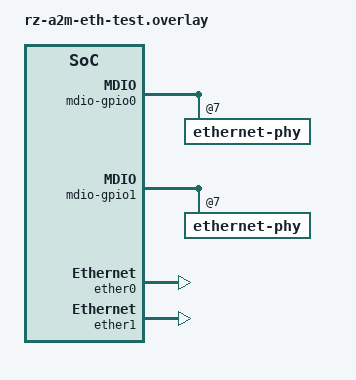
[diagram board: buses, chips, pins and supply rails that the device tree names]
/*
 * Copyright (c) 2023 EPAM Systems
 *
 * SPDX-License-Identifier: Apache-2.0
 */

/ {
	mdio-gpio0 {
			status = "okay";

			ethernet-phy@7 {
				status = "okay";
			};
	};

	mdio-gpio1 {
			status = "okay";

			ethernet-phy@7 {
				status = "okay";
			};
	};
};

&ether0 {
	status = "okay";
};

&ether1 {
	status = "okay";
};
